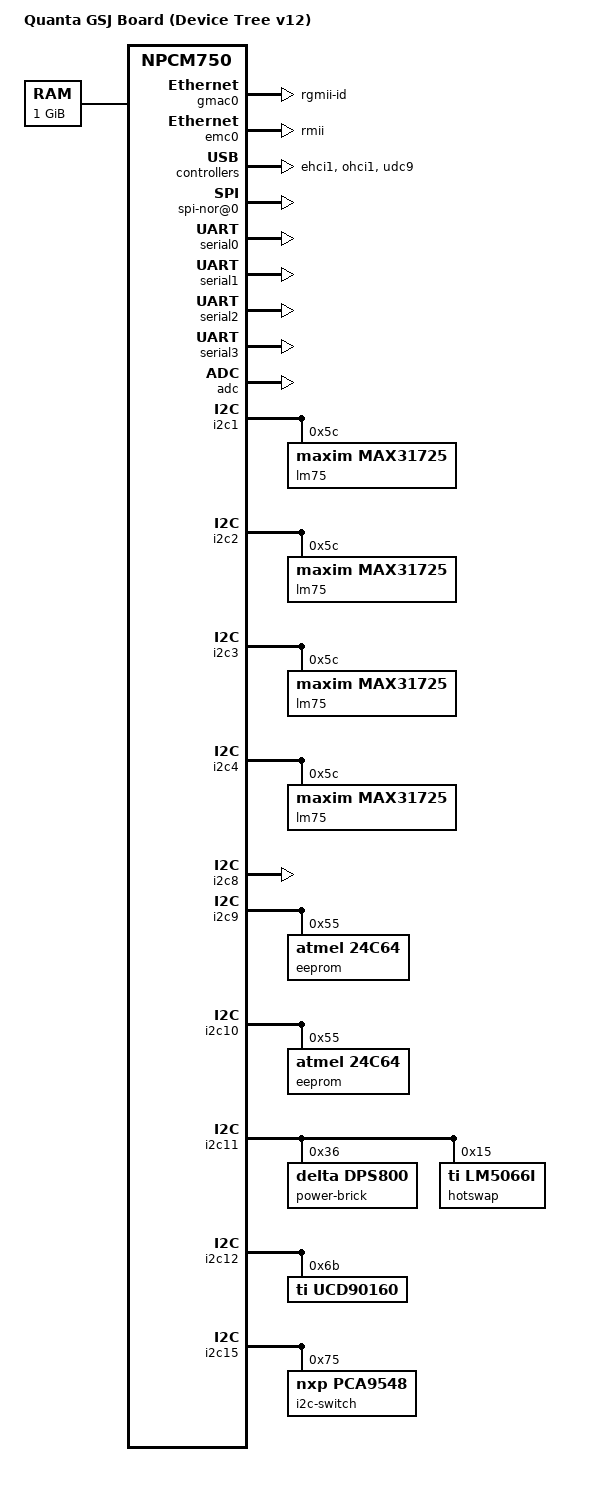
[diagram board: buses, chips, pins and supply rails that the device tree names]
// SPDX-License-Identifier: GPL-2.0
// Copyright (c) 2019 Quanta Computer lnc. Fran.Hsu@quantatw.com

/dts-v1/;
#include "nuvoton-npcm730.dtsi"
#include "nuvoton-npcm730-gsj-gpio.dtsi"
/ {
	model = "Quanta GSJ Board (Device Tree v12)";
	compatible = "nuvoton,npcm750";

	aliases {
		ethernet0 = &emc0;
		ethernet1 = &gmac0;
		serial3 = &serial3;
		udc9 = &udc9;
		i2c1 = &i2c1;
		i2c2 = &i2c2;
		i2c3 = &i2c3;
		i2c4 = &i2c4;
		i2c8 = &i2c8;
		i2c9 = &i2c9;
		i2c10 = &i2c10;
		i2c11 = &i2c11;
		i2c12 = &i2c12;
		i2c15 = &i2c15;
		fiu0 = &fiu0;
	};

	chosen {
		stdout-path = &serial3;
	};

	memory {
		reg = <0 0x40000000>;
	};

	ahb {
		gmac0: eth@f0802000 {
			phy-mode = "rgmii-id";
			status = "okay";
		};

		mc: memory-controller@f0824000 {
			compatible = "nuvoton,npcm7xx-sdram-edac";
			reg = <0xf0824000 0x1000>;
			interrupts = <GIC_SPI 25 IRQ_TYPE_LEVEL_HIGH>;
		};

		emc0: eth@f0825000 {
			phy-mode = "rmii";
			use-ncsi;
			status = "okay";
		};

		ehci1: usb@f0806000 {
			status = "okay";
		};

		ohci1: ohci@f0807000 {
			status = "okay";
		};

		udc9:udc@f0839000 {
			status = "okay";
		};

		aes:aes@f0858000 {
			status = "okay";
		};

		sha:sha@f085a000 {
			status = "okay";
		};

		fiu0: fiu@fb000000 {
			pinctrl-names = "default";
			pinctrl-0 = <&spi0cs1_pins>;
			status = "okay";
			spi-nor@0 {
				compatible = "jedec,spi-nor";
				#address-cells = <1>;
				#size-cells = <1>;
				reg = <0>;
				spi-rx-bus-width = <2>;
				partitions@80000000 {
					compatible = "fixed-partitions";
					#address-cells = <1>;
					#size-cells = <1>;
					bmc@0{
						label = "bmc";
						reg = <0x000000 0x2000000>;
					};
					u-boot@0 {
						label = "u-boot";
						reg = <0x0000000 0x80000>;
						read-only;
					};
					u-boot-env@100000{
						label = "u-boot-env";
						reg = <0x00100000 0x40000>;
					};
					kernel@200000 {
						label = "kernel";
						reg = <0x0200000 0x600000>;
					};
					rofs@800000 {
						label = "rofs";
						reg = <0x800000 0x1400000>;
					};
					rwfs@1c00000 {
						label = "rwfs";
						reg = <0x1c00000 0x300000>;
					};
					reserved@1f00000 {
						label = "reserved";
						reg = <0x1f00000 0x100000>;
					};
				};
			};
		};

		pcimbox: pcimbox@f0848000 {
			status = "okay";
		};

		apb {

			watchdog1: watchdog@901C {
				status = "okay";
			};

			rng: rng@b000 {
				status = "okay";
			};

			serial0: serial@1000 {
				status = "okay";
			};

			serial1: serial@2000 {
				status = "okay";
			};

			serial2: serial@3000 {
				status = "okay";
			};

			serial3: serial@4000 {
				status = "okay";
			};

			adc: adc@c000 {
				status = "okay";
			};
			otp:otp@189000 {
				status = "okay";
			};

			i2c1: i2c@81000 {
				#address-cells = <1>;
				#size-cells = <0>;
				bus-frequency = <100000>;
				status = "okay";
				lm75@5c {
					compatible = "maxim,max31725";
					reg = <0x5c>;
					status = "okay";
				};
			};

			i2c2: i2c@82000 {
				#address-cells = <1>;
				#size-cells = <0>;
				bus-frequency = <100000>;
				status = "okay";
				lm75@5c {
					compatible = "maxim,max31725";
					reg = <0x5c>;
					status = "okay";
				};
			};

			i2c3: i2c@83000 {
				#address-cells = <1>;
				#size-cells = <0>;
				bus-frequency = <100000>;
				status = "okay";
				lm75@5c {
					compatible = "maxim,max31725";
					reg = <0x5c>;
					status = "okay";
				};
			};

			i2c4: i2c@84000 {
				#address-cells = <1>;
				#size-cells = <0>;
				bus-frequency = <100000>;
				status = "okay";
				lm75@5c {
					compatible = "maxim,max31725";
					reg = <0x5c>;
					status = "okay";
				};
			};

			i2c8: i2c@88000 {
				#address-cells = <1>;
				#size-cells = <0>;
				bus-frequency = <100000>;
				status = "okay";
			};

			i2c9: i2c@89000 {
				#address-cells = <1>;
				#size-cells = <0>;
				bus-frequency = <100000>;
				status = "okay";
				eeprom@55 {
					compatible = "atmel,24c64";
					reg = <0x55>;
				};
			};

			i2c10: i2c@8a000 {
				#address-cells = <1>;
				#size-cells = <0>;
				bus-frequency = <100000>;
				status = "okay";
				eeprom@55 {
					compatible = "atmel,24c64";
					reg = <0x55>;
				};
			};

			i2c11: i2c@8b000 {
				#address-cells = <1>;
				#size-cells = <0>;
				bus-frequency = <100000>;
				status = "okay";

				/* P12V Quarter Brick DC/DC Power Module Q54SH12050 @60 */
				power-brick@36 {
					compatible = "delta,dps800";
					reg = <0x36>;
				};

				hotswap@15 {
					compatible = "ti,lm5066i";
					reg = <0x15>;
				};
			};

			i2c12: i2c@8c000 {
				#address-cells = <1>;
				#size-cells = <0>;
				bus-frequency = <100000>;
				status = "okay";
				ucd90160@6b {
					compatible = "ti,ucd90160";
					reg = <0x6b>;
				};
			};

			i2c15: i2c@8f000 {
				#address-cells = <1>;
				#size-cells = <0>;
				bus-frequency = <100000>;
				status = "okay";

				i2c-switch@75 {
					compatible = "nxp,pca9548";
					#address-cells = <1>;
					#size-cells = <0>;
					reg = <0x75>;
					i2c-mux-idle-disconnect;

					i2c_u20: i2c@0 {
						#address-cells = <1>;
						#size-cells = <0>;
						reg = <0>;
					};

					i2c_u21: i2c@1 {
						#address-cells = <1>;
						#size-cells = <0>;
						reg = <1>;
					};

					i2c_u22: i2c@2 {
						#address-cells = <1>;
						#size-cells = <0>;
						reg = <2>;
					};

					i2c_u23: i2c@3 {
						#address-cells = <1>;
						#size-cells = <0>;
						reg = <3>;
					};

					i2c_u24: i2c@4 {
						#address-cells = <1>;
						#size-cells = <0>;
						reg = <4>;
					};

					i2c_u25: i2c@5 {
						#address-cells = <1>;
						#size-cells = <0>;
						reg = <5>;
					};

					i2c_u26: i2c@6 {
						#address-cells = <1>;
						#size-cells = <0>;
						reg = <6>;
					};

					i2c_u27: i2c@7 {
						#address-cells = <1>;
						#size-cells = <0>;
						reg = <7>;
					};
				};
			};

			pwm_fan:pwm-fan-controller@103000 {
				pinctrl-names = "default";
				pinctrl-0 = <&pwm0_pins &pwm1_pins &pwm2_pins
						&fanin0_pins &fanin1_pins
						&fanin2_pins &fanin3_pins
						&fanin4_pins &fanin5_pins>;
				status = "okay";

				fan@0 {
					reg = <0x00>;
					fan-tach-ch = /bits/ 8 <0x00 0x01>;
					cooling-levels = <127 255>;
				};

				fan@1 {
					reg = <0x01>;
					fan-tach-ch = /bits/ 8 <0x02 0x03>;
					cooling-levels = /bits/ 8 <127 255>;
				};

				fan@2 {
					reg = <0x02>;
					fan-tach-ch = /bits/ 8 <0x04 0x05>;
					cooling-levels = /bits/ 8 <127 255>;
				};
			};

		};
	};

};
